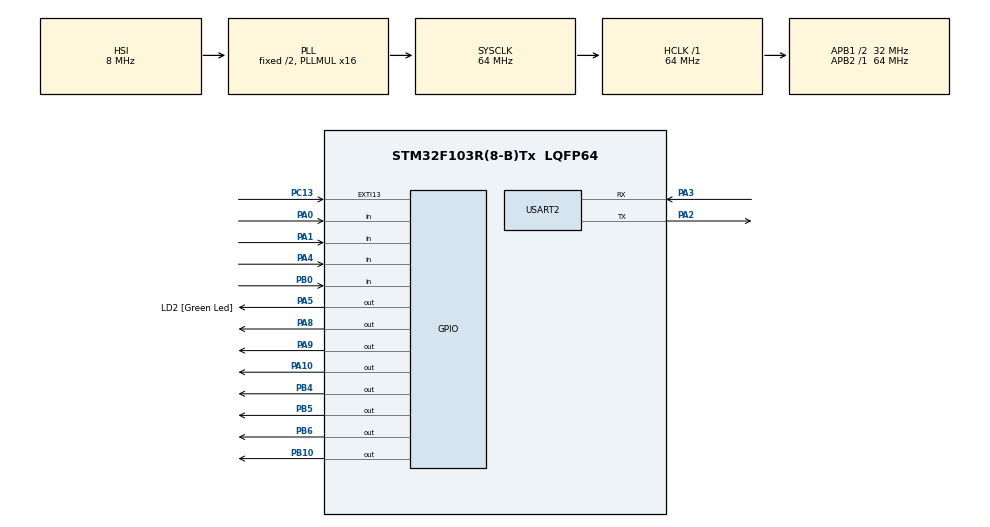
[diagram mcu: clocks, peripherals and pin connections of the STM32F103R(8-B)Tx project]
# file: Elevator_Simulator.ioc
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FREERTOS.Queues01=Input_Queue,16,uint32_t,0,Dynamic,NULL,NULL;Emergency_Stop,8,ElevatorState,0,Dynamic,NULL,NULL
FREERTOS.Tasks01=EmergencyTask,2,128,Emergency_Stop_Task,Default,NULL,Dynamic,NULL,NULL;EleVControlTask,-1,128,Elevator_Control_Task,Default,NULL,Dynamic,NULL,NULL;cliReceive,0,128,CLI_Receive_Task,Default,NULL,Dynamic,NULL,NULL;ButtonCheck,0,128,ButtonCheck_Task,Default,NULL,Dynamic,NULL,NULL
FREERTOS.configUSE_NEWLIB_REENTRANT=1
Mcu.Family=STM32F1
Mcu.Name=STM32F103R(8-B)Tx
Mcu.Package=LQFP64
NVIC.EXTI15_10_IRQn=true\:5\:0\:true\:false\:true\:true\:true\:true\:true
NVIC.PriorityGroup=NVIC_PRIORITYGROUP_4
NVIC.TIM4_IRQn=true\:15\:0\:false\:false\:true\:false\:false\:true\:true
NVIC.TimeBase=TIM4_IRQn
NVIC.TimeBaseIP=TIM4
NVIC.USART2_IRQn=true\:5\:0\:false\:false\:true\:true\:true\:true\:true
PA0-WKUP.GPIO_PuPd=GPIO_PULLDOWN
PA0-WKUP.Signal=GPIO_Input
PA1.GPIO_PuPd=GPIO_PULLDOWN
PA1.Signal=GPIO_Input
PA10.Signal=GPIO_Output
PA13.GPIO_Label=TMS
PA13.Mode=Serial_Wire
PA13.Signal=SYS_JTMS-SWDIO
PA14.GPIO_Label=TCK
PA14.Mode=Serial_Wire
PA14.Signal=SYS_JTCK-SWCLK
PA2.GPIO_Mode=GPIO_MODE_AF_PP
PA2.GPIO_PuPd=GPIO_NOPULL
PA2.GPIO_Speed=GPIO_SPEED_FREQ_HIGH
PA2.Mode=Asynchronous
PA2.Signal=USART2_TX
PA3.GPIO_Mode=GPIO_MODE_INPUT
PA3.GPIO_PuPd=GPIO_NOPULL
PA3.GPIO_Speed=GPIO_SPEED_FREQ_LOW
PA3.Mode=Asynchronous
PA3.Signal=USART2_RX
PA4.GPIO_PuPd=GPIO_PULLDOWN
PA4.Signal=GPIO_Input
PA5.GPIO_Label=LD2 [Green Led]
PA5.GPIO_ModeDefaultOutputPP=GPIO_MODE_OUTPUT_PP
PA5.GPIO_PuPd=GPIO_NOPULL
PA5.GPIO_Speed=GPIO_SPEED_FREQ_LOW
PA5.Signal=GPIO_Output
PA8.Signal=GPIO_Output
PA9.Signal=GPIO_Output
PB0.GPIO_PuPd=GPIO_PULLDOWN
PB0.Signal=GPIO_Input
PB10.Signal=GPIO_Output
PB3.GPIO_Label=SWO
PB3.Signal=SYS_JTDO-TRACESWO
PB4.Signal=GPIO_Output
PB5.Signal=GPIO_Output
PB6.Signal=GPIO_Output
PC13-TAMPER-RTC.GPIO_ModeDefaultEXTI=GPIO_MODE_IT_FALLING
PC13-TAMPER-RTC.Signal=GPXTI13
PC14-OSC32_IN.Mode=LSE-External-Oscillator
PC14-OSC32_IN.Signal=RCC_OSC32_IN
PC15-OSC32_OUT.Mode=LSE-External-Oscillator
PC15-OSC32_OUT.Signal=RCC_OSC32_OUT
PD0-OSC_IN.Mode=HSE-External-Clock-Source
PD0-OSC_IN.Signal=RCC_OSC_IN
PD1-OSC_OUT.Mode=HSE-External-Clock-Source
PD1-OSC_OUT.Signal=RCC_OSC_OUT
ProjectManager.HeapSize=0x200
ProjectManager.StackSize=0x400
ProjectManager.TargetToolchain=STM32CubeIDE
RCC.AHBFreq_Value=64000000
RCC.APB1CLKDivider=RCC_HCLK_DIV2
RCC.APB1Freq_Value=32000000
RCC.APB1TimFreq_Value=64000000
RCC.APB2Freq_Value=64000000
RCC.APB2TimFreq_Value=64000000
RCC.HCLKFreq_Value=64000000
RCC.PLLMUL=RCC_PLL_MUL16
RCC.RTCClockSelection=RCC_RTCCLKSOURCE_LSE
RCC.SYSCLKFreq_VALUE=64000000
RCC.SYSCLKSource=RCC_SYSCLKSOURCE_PLLCLK
RCC.USBFreq_Value=64000000
USART2.VirtualMode=VM_ASYNC
VP_FREERTOS_VS_CMSIS_V1.Mode=CMSIS_V1
VP_SYS_VS_tim4.Mode=TIM4
VP_TIM3_VS_ClockSourceINT.Mode=Internal
board=NUCLEO-F103RB

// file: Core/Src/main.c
/* USER CODE BEGIN Header */
/**
  ******************************************************************************
  * @file           : main.c
  * @brief          : Main program body
  ******************************************************************************
  * @attention
  *
  * Copyright (c) 2024 STMicroelectronics.
  * All rights reserved.
  *
  * This software is licensed under terms that can be found in the LICENSE file
  * in the root directory of this software component.
  * If no LICENSE file comes with this software, it is provided AS-IS.
  *
  ******************************************************************************
  */
/* USER CODE END Header */
#include "main.h"
#include "cmsis_os.h"

/* USER CODE BEGIN Includes */
#include <stdbool.h>
#include <stdlib.h>
#include "cli.h"
#include "elevator_control.h"
#include "external_control.h"

#define BACKSPACE 8		//ASCII value
#define DELETE 127
#define ENTER_KEY 13	//ASCII value
uint8_t RXBuffer[1];
/* USER CODE END Includes */

/* USER CODE BEGIN PTD */
char cliBufferRx[50];
int bufferIndex = 0;
int command=0;
/* USER CODE END PTD */

TIM_HandleTypeDef htim3;

UART_HandleTypeDef huart2;

osThreadId EmergencyTaskHandle;
osThreadId EleVControlTaskHandle;
osThreadId cliReceiveHandle;
osThreadId ButtonCheckHandle;
osMessageQId Input_QueueHandle;
osMessageQId Emergency_StopHandle;

void SystemClock_Config(void);
static void MX_GPIO_Init(void);
static void MX_USART2_UART_Init(void);
static void MX_TIM3_Init(void);
void Emergency_Stop_Task(void const * argument);
void Elevator_Control_Task(void const * argument);
void CLI_Receive_Task(void const * argument);
void ButtonCheck_Task(void const * argument);

int main(void)
{

  /* MCU Configuration--------------------------------------------------------*/

  /* Reset of all peripherals, Initializes the Flash interface and the Systick. */
  HAL_Init();

  /* Configure the system clock */
  SystemClock_Config();

  /* Initialize all configured peripherals */
  MX_GPIO_Init();
  MX_USART2_UART_Init();
  MX_TIM3_Init();
  /* USER CODE BEGIN 2 */

  HAL_TIM_Base_Start_IT(&htim3);
  uartReceive(RXBuffer, 1);
  CLI_Init();
  /* USER CODE END 2 */

  /* Create the queue(s) */
  /* definition and creation of Input_Queue */
  osMessageQDef(Input_Queue, 16, uint32_t);
  Input_QueueHandle = osMessageCreate(osMessageQ(Input_Queue), NULL);

  /* definition and creation of Emergency_Stop */
  osMessageQDef(Emergency_Stop, 8, ElevatorState);
  Emergency_StopHandle = osMessageCreate(osMessageQ(Emergency_Stop), NULL);

  /* Create the thread(s) */
  /* definition and creation of EmergencyTask */
  osThreadDef(EmergencyTask, Emergency_Stop_Task, osPriorityHigh, 0, 128);
  EmergencyTaskHandle = osThreadCreate(osThread(EmergencyTask), NULL);

  /* definition and creation of EleVControlTask */
  osThreadDef(EleVControlTask, Elevator_Control_Task, osPriorityBelowNormal, 0, 128);
  EleVControlTaskHandle = osThreadCreate(osThread(EleVControlTask), NULL);

  /* definition and creation of cliReceive */
  osThreadDef(cliReceive, CLI_Receive_Task, osPriorityNormal, 0, 128);
  cliReceiveHandle = osThreadCreate(osThread(cliReceive), NULL);

  /* definition and creation of ButtonCheck */
  osThreadDef(ButtonCheck, ButtonCheck_Task, osPriorityNormal, 0, 128);
  ButtonCheckHandle = osThreadCreate(osThread(ButtonCheck), NULL);

  /* Start scheduler */
  osKernelStart();

  /* We should never get here as control is now taken by the scheduler */

  /* Infinite loop */
  while (1)
  {

  }
}

void SystemClock_Config(void)
{
  RCC_OscInitTypeDef RCC_OscInitStruct = {0};
  RCC_ClkInitTypeDef RCC_ClkInitStruct = {0};

  /** Initializes the RCC Oscillators according to the specified parameters
  * in the RCC_OscInitTypeDef structure.
  */
  RCC_OscInitStruct.OscillatorType = RCC_OSCILLATORTYPE_HSI;
  RCC_OscInitStruct.HSIState = RCC_HSI_ON;
  RCC_OscInitStruct.HSICalibrationValue = RCC_HSICALIBRATION_DEFAULT;
  RCC_OscInitStruct.PLL.PLLState = RCC_PLL_ON;
  RCC_OscInitStruct.PLL.PLLSource = RCC_PLLSOURCE_HSI_DIV2;
  RCC_OscInitStruct.PLL.PLLMUL = RCC_PLL_MUL16;
  if (HAL_RCC_OscConfig(&RCC_OscInitStruct) != HAL_OK)
  {
    Error_Handler();
  }

  /** Initializes the CPU, AHB and APB buses clocks
  */
  RCC_ClkInitStruct.ClockType = RCC_CLOCKTYPE_HCLK|RCC_CLOCKTYPE_SYSCLK
                              |RCC_CLOCKTYPE_PCLK1|RCC_CLOCKTYPE_PCLK2;
  RCC_ClkInitStruct.SYSCLKSource = RCC_SYSCLKSOURCE_PLLCLK;
  RCC_ClkInitStruct.AHBCLKDivider = RCC_SYSCLK_DIV1;
  RCC_ClkInitStruct.APB1CLKDivider = RCC_HCLK_DIV2;
  RCC_ClkInitStruct.APB2CLKDivider = RCC_HCLK_DIV1;

  if (HAL_RCC_ClockConfig(&RCC_ClkInitStruct, FLASH_LATENCY_2) != HAL_OK)
  {
    Error_Handler();
  }
}

static void MX_TIM3_Init(void)
{

  TIM_ClockConfigTypeDef sClockSourceConfig = {0};
  TIM_MasterConfigTypeDef sMasterConfig = {0};

  htim3.Instance = TIM3;
  htim3.Init.Prescaler = 0;
  htim3.Init.CounterMode = TIM_COUNTERMODE_UP;
  htim3.Init.Period = 65535;
  htim3.Init.ClockDivision = TIM_CLOCKDIVISION_DIV1;
  htim3.Init.AutoReloadPreload = TIM_AUTORELOAD_PRELOAD_DISABLE;
  if (HAL_TIM_Base_Init(&htim3) != HAL_OK)
  {
    Error_Handler();
  }
  sClockSourceConfig.ClockSource = TIM_CLOCKSOURCE_INTERNAL;
  if (HAL_TIM_ConfigClockSource(&htim3, &sClockSourceConfig) != HAL_OK)
  {
    Error_Handler();
  }
  sMasterConfig.MasterOutputTrigger = TIM_TRGO_RESET;
  sMasterConfig.MasterSlaveMode = TIM_MASTERSLAVEMODE_DISABLE;
  if (HAL_TIMEx_MasterConfigSynchronization(&htim3, &sMasterConfig) != HAL_OK)
  {
    Error_Handler();
  }

}

static void MX_USART2_UART_Init(void)
{

  huart2.Instance = USART2;
  huart2.Init.BaudRate = 115200;
  huart2.Init.WordLength = UART_WORDLENGTH_8B;
  huart2.Init.StopBits = UART_STOPBITS_1;
  huart2.Init.Parity = UART_PARITY_NONE;
  huart2.Init.Mode = UART_MODE_TX_RX;
  huart2.Init.HwFlowCtl = UART_HWCONTROL_NONE;
  huart2.Init.OverSampling = UART_OVERSAMPLING_16;
  if (HAL_UART_Init(&huart2) != HAL_OK)
  {
    Error_Handler();
  }

}

static void MX_GPIO_Init(void)
{
  GPIO_InitTypeDef GPIO_InitStruct = {0};

  /* GPIO Ports Clock Enable */
  __HAL_RCC_GPIOC_CLK_ENABLE();
  __HAL_RCC_GPIOD_CLK_ENABLE();
  __HAL_RCC_GPIOA_CLK_ENABLE();
  __HAL_RCC_GPIOB_CLK_ENABLE();

  /*Configure GPIO pin Output Level */
  HAL_GPIO_WritePin(GPIOA, LD2_Pin|GPIO_PIN_8|GPIO_PIN_9|GPIO_PIN_10, GPIO_PIN_RESET);

  /*Configure GPIO pin Output Level */
  HAL_GPIO_WritePin(GPIOB, GPIO_PIN_10|GPIO_PIN_4|GPIO_PIN_5|GPIO_PIN_6, GPIO_PIN_RESET);

  /*Configure GPIO pin : PC13 */
  GPIO_InitStruct.Pin = GPIO_PIN_13;
  GPIO_InitStruct.Mode = GPIO_MODE_IT_FALLING;
  GPIO_InitStruct.Pull = GPIO_NOPULL;
  HAL_GPIO_Init(GPIOC, &GPIO_InitStruct);

  /*Configure GPIO pins : PA0 PA1 PA4 */
  GPIO_InitStruct.Pin = GPIO_PIN_0|GPIO_PIN_1|GPIO_PIN_4;
  GPIO_InitStruct.Mode = GPIO_MODE_INPUT;
  GPIO_InitStruct.Pull = GPIO_NOPULL;
  HAL_GPIO_Init(GPIOA, &GPIO_InitStruct);

  /*Configure GPIO pins : LD2_Pin PA8 PA9 PA10 */
  GPIO_InitStruct.Pin = LD2_Pin|GPIO_PIN_8|GPIO_PIN_9|GPIO_PIN_10;
  GPIO_InitStruct.Mode = GPIO_MODE_OUTPUT_PP;
  GPIO_InitStruct.Pull = GPIO_NOPULL;
  GPIO_InitStruct.Speed = GPIO_SPEED_FREQ_LOW;
  HAL_GPIO_Init(GPIOA, &GPIO_InitStruct);

  /*Configure GPIO pin : PB0 */
  GPIO_InitStruct.Pin = GPIO_PIN_0;
  GPIO_InitStruct.Mode = GPIO_MODE_INPUT;
  GPIO_InitStruct.Pull = GPIO_NOPULL;
  HAL_GPIO_Init(GPIOB, &GPIO_InitStruct);

  /*Configure GPIO pins : PB10 PB4 PB5 PB6 */
  GPIO_InitStruct.Pin = GPIO_PIN_10|GPIO_PIN_4|GPIO_PIN_5|GPIO_PIN_6;
  GPIO_InitStruct.Mode = GPIO_MODE_OUTPUT_PP;
  GPIO_InitStruct.Pull = GPIO_NOPULL;
  GPIO_InitStruct.Speed = GPIO_SPEED_FREQ_LOW;
  HAL_GPIO_Init(GPIOB, &GPIO_InitStruct);

  /* EXTI interrupt init*/
  HAL_NVIC_SetPriority(EXTI15_10_IRQn, 5, 0);
  HAL_NVIC_EnableIRQ(EXTI15_10_IRQn);

}

/* USER CODE BEGIN 4 */
/**
 * @brief Callback function for handling GPIO external interrupts.
 *        Triggered when a pin configured for external interrupt generates an event.
 *
 * @param GPIO_Pin The pin that caused the interrupt.
 */
void HAL_GPIO_EXTI_Callback(uint16_t GPIO_Pin)
{
	// Check if the interrupt is triggered by pin PC13
    if (GPIO_Pin == GPIO_PIN_13)
    {
    	// Send a simple signal to the task
    	osMessagePut(Emergency_StopHandle, 1, osWaitForever);
    }
}

/**
 * @brief Callback function called when a UART transmission is complete.
 *
 * @param huart Pointer to the UART handle structure.
 */
void HAL_UART_TxCpltCallback(UART_HandleTypeDef *huart) {
	if (huart->Instance == USART2) {}
}

/**
 * @brief Callback function called when a UART reception is complete.
 *
 * @param huart Pointer to the UART handle structure.
 */
void HAL_UART_RxCpltCallback(UART_HandleTypeDef *huart) {
	uartReceive(RXBuffer, 1);
}
/* USER CODE END 4 */

void Emergency_Stop_Task(void const * argument)
{
  /* USER CODE BEGIN 5 */
  /* Infinite loop */
  for(;;)
  {
	osEvent event = osMessageGet(Emergency_StopHandle, osWaitForever);
    if (event.status == osEventMessage)
    {
       restoreCursorPosition();
       saveCursorPosition();
       emergencyStopOperations();
       restoreCursorPosition();
    }
	osDelay(1);
  }
  /* USER CODE END 5 */
}

void Elevator_Control_Task(void const * argument)
{
  /* USER CODE BEGIN Elevator_Control_Task */
  /* Infinite loop */
  for(;;)
  {
	osEvent event = osMessageGet(Input_QueueHandle, osWaitForever);
	if (event.status == osEventMessage) {
	  char* inputMessage = (char*)event.value.v;
	  if (strcmp(inputMessage, "M") == 0) {
		  saveCursorPosition();
		  maintenanceMode();
		  restoreCursorPosition();
      }
	  else if (strcmp(inputMessage, "R") == 0){
		  saveCursorPosition();
		  resumeElevatorOperations();
		  restoreCursorPosition();
	  }
      else if (strcmp(inputMessage, "open") == 0){
    	  activateDoorOpening();
      }
      else if (strcmp(inputMessage, "close") == 0){
    	  activateDoorClosing();
      }
      else {
    	  int target = atoi(inputMessage);
    	  moveElevatorToFloor(target);
      }
	}
	osDelay(1);
    CLI_Prompt();
  }
  /* USER CODE END Elevator_Control_Task */
}

void CLI_Receive_Task(void const * argument)
{
  /* USER CODE BEGIN CLI_Receive_Task */
  uartReceive(RXBuffer, 1);
  /* Infinite loop */
  for(;;)
  {
    osDelay(10);
    if (RXBuffer[0] != '\0') {
      if (RXBuffer[0] == ENTER_KEY) {
          cliBufferRx[bufferIndex] = '\0';  // Null-terminate the buffer
          if (bufferIndex > 0) {
              // Send the input to the Elevator Control Task
              osMessagePut(Input_QueueHandle, (uint32_t)cliBufferRx, osWaitForever);
              bufferIndex = 0;
          }
      } else if (RXBuffer[0] == BACKSPACE || RXBuffer[0] == DELETE) {
          if (bufferIndex > 0) {
              bufferIndex--;
              char data[] = "\b \b";  // Erase character on screen
              uartTransmit(data);
          }
      } else {
          if (bufferIndex < sizeof(cliBufferRx) - 1) {
              cliBufferRx[bufferIndex++] = RXBuffer[0];
              char echoChar[2] = {RXBuffer[0], '\0'};
              uartTransmit(echoChar);
          }
      }
    }

    // Clear RXBuffer for the next byte
    memset(RXBuffer, 0, sizeof(RXBuffer));

    // Start receiving the next byte
    uartReceive(RXBuffer, 1);

  }
  /* USER CODE END CLI_Receive_Task */
}

void ButtonCheck_Task(void const * argument)
{
    uint8_t prevButtonStates[4];
    uint8_t currButtonState;
    char floorMessage[4];

    // Initialize prevButtonStates to the current state of the buttons
    prevButtonStates[0] = HAL_GPIO_ReadPin(BUTTON_1_PORT, BUTTON_1_PIN);
    prevButtonStates[1] = HAL_GPIO_ReadPin(BUTTON_2_PORT, BUTTON_2_PIN);
    prevButtonStates[2] = HAL_GPIO_ReadPin(BUTTON_3_PORT, BUTTON_3_PIN);
    prevButtonStates[3] = HAL_GPIO_ReadPin(BUTTON_4_PORT, BUTTON_4_PIN);

    ExternalControl_Init();

    for (;;)
    {
        // Button 1
        currButtonState = HAL_GPIO_ReadPin(BUTTON_1_PORT, BUTTON_1_PIN);
        if (currButtonState == GPIO_PIN_RESET && prevButtonStates[0] == GPIO_PIN_SET)
        {
        	sprintf(floorMessage, "%d", FLOOR_1);  // Convert 1 to "1"
        	osMessagePut(Input_QueueHandle, (uint32_t)floorMessage, osWaitForever);
        }
        prevButtonStates[0] = currButtonState;

        // Button 2
        currButtonState = HAL_GPIO_ReadPin(BUTTON_2_PORT, BUTTON_2_PIN);
        if (currButtonState == GPIO_PIN_RESET && prevButtonStates[1] == GPIO_PIN_SET)
        {
        	sprintf(floorMessage, "%d", FLOOR_2);  // Convert 2 to "2"
        	osMessagePut(Input_QueueHandle, (uint32_t)floorMessage, osWaitForever);
        }
        prevButtonStates[1] = currButtonState;

        // Button 3
        currButtonState = HAL_GPIO_ReadPin(BUTTON_3_PORT, BUTTON_3_PIN);
        if (currButtonState == GPIO_PIN_RESET && prevButtonStates[2] == GPIO_PIN_SET)
        {
        	sprintf(floorMessage, "%d", FLOOR_2);  // Convert 2 to "2"
        	osMessagePut(Input_QueueHandle, (uint32_t)floorMessage, osWaitForever);
        }
        prevButtonStates[2] = currButtonState;

        // Button 4
        currButtonState = HAL_GPIO_ReadPin(BUTTON_4_PORT, BUTTON_4_PIN);
        if (currButtonState == GPIO_PIN_RESET && prevButtonStates[3] == GPIO_PIN_SET)
        {
        	sprintf(floorMessage, "%d", FLOOR_3);  // Convert 3 to "3"
        	osMessagePut(Input_QueueHandle, (uint32_t)floorMessage, osWaitForever);
        }
        prevButtonStates[3] = currButtonState;

        osDelay(10); // Prevent task starvation
    }
}

void HAL_TIM_PeriodElapsedCallback(TIM_HandleTypeDef *htim)
{
  if (htim->Instance == TIM4) {
    HAL_IncTick();
  }
}

void Error_Handler(void)
{
  __disable_irq();
  while (1)
  {
  }
}
